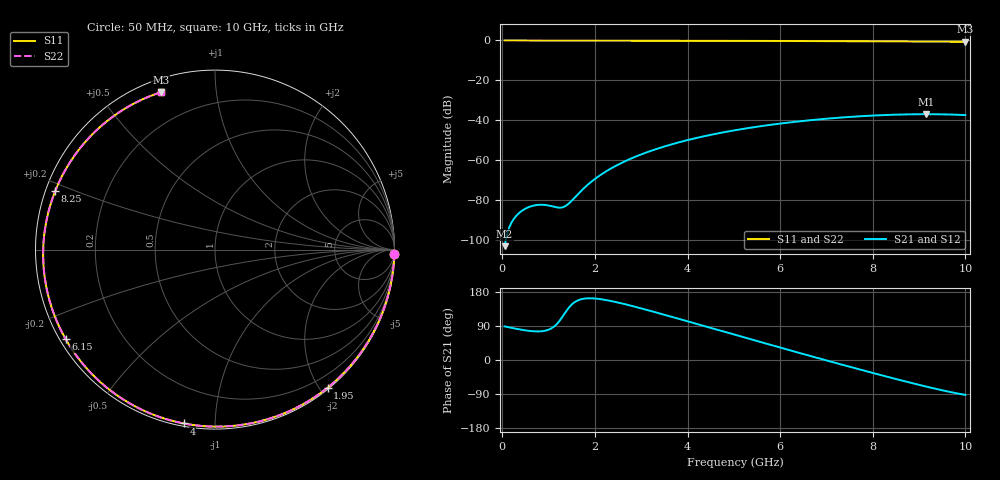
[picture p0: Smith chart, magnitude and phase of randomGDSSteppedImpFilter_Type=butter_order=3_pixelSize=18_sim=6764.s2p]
! freq	dB(S11)	phase(S11)	dB(S12)	phase(S12)
!  dB(S21)	phase(S21)	dB(S22)	phase(S22)
!S-par simulation data
#  GHz  S  DB  R 50
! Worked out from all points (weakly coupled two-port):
!   200 points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, 50 MHz to 10 GHz, reference 50 ohm
!   highest |S21| = -36.93 dB at 9.15 GHz (marker M1); lowest = -103.0 dB at 50 MHz (marker M2)
!   lowest |S11| = -0.7 dB at 10 GHz (marker M3), VSWR 26.41, Z = 2.85 + j35.5 ohm
!   |S11| at or under -10 dB: nowhere
!   |S22| runs from -0.7 to 0.0 dB; largest |S21 - S12| = 0
!   S11 on the Smith chart (normalised r, x): 50 MHz: 0, -85; 1.95 GHz: 0.02, -2.11; 4 GHz: 0.01, -0.84; 6.15 GHz: 0.02, -0.28; 8.25 GHz: 0.03, +0.18; 10 GHz: 0.06, +0.71
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0.05  -0.00 -1.3  -103.03 88.7  -103.03 88.7  -0.00 -1.3
0.75  -0.03 -19.8  -82.41 75.4  -82.41 75.4  -0.03 -19.8
1.5  -0.05 -39.3  -80.26 146.5  -80.26 146.5  -0.05 -39.3
1.75  -0.06 -45.7  -74.27 161.6  -74.27 161.6  -0.06 -45.7
1.95  -0.06 -50.8  -70.25 162.7  -70.25 162.7  -0.06 -50.8
2.25  -0.07 -58.3  -65.44 158.0  -65.44 158.0  -0.07 -58.3
2.6  -0.09 -66.9  -61.05 148.7  -61.05 148.7  -0.08 -66.9
3  -0.10 -76.6  -57.07 136.2  -57.07 136.2  -0.10 -76.6
3.4  -0.11 -86.1  -53.82 122.8  -53.82 122.8  -0.11 -86.1
4  -0.14 -100.2  -49.91 102.1  -49.91 102.1  -0.14 -100.2
4.5  -0.16 -111.6  -47.28 84.6  -47.28 84.6  -0.16 -111.6
5.05  -0.19 -124.1  -44.87 65.5  -44.87 65.5  -0.19 -124.1
5.6  -0.22 -136.6  -42.87 46.5  -42.87 46.5  -0.22 -136.6
6.15  -0.26 -149.1  -41.21 27.6  -41.21 27.6  -0.26 -149.1
6.7  -0.31 -161.8  -39.83 9.0  -39.83 9.0  -0.31 -161.8
7.5  -0.38 179.0  -38.30 -17.8  -38.30 -17.8  -0.38 179.0
8.25  -0.46 159.9  -37.36 -42.3  -37.36 -42.3  -0.46 159.9
8.35  -0.47 157.2  -37.28 -45.5  -37.28 -45.5  -0.47 157.2
8.75  -0.52 146.3  -37.02 -58.0  -37.02 -58.0  -0.52 146.3
9.15  -0.56 135.0  -36.93 -70.1  -36.93 -70.1  -0.56 134.9
9.6  -0.62 121.5  -37.05 -82.6  -37.05 -82.6  -0.62 121.5
10  -0.66 109.1  -37.37 -92.1  -37.37 -92.1  -0.66 109.0
